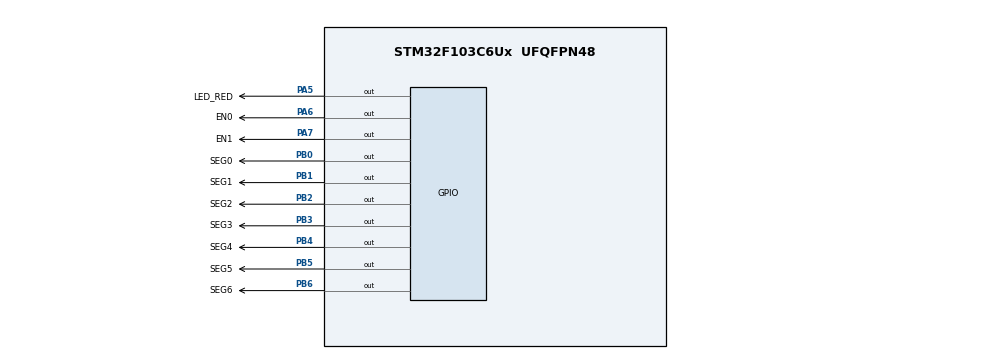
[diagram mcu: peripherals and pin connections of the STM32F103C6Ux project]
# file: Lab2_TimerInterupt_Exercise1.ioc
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Mcu.Family=STM32F1
Mcu.Name=STM32F103C6Ux
Mcu.Package=UFQFPN48
NVIC.PriorityGroup=NVIC_PRIORITYGROUP_4
NVIC.TIM2_IRQn=true\:0\:0\:false\:false\:true\:true\:true
PA5.GPIO_Label=LED_RED
PA5.Signal=GPIO_Output
PA6.GPIO_Label=EN0
PA6.Signal=GPIO_Output
PA7.GPIO_Label=EN1
PA7.Signal=GPIO_Output
PB0.GPIO_Label=SEG0
PB0.Signal=GPIO_Output
PB1.GPIO_Label=SEG1
PB1.Signal=GPIO_Output
PB2.GPIO_Label=SEG2
PB2.Signal=GPIO_Output
PB3.GPIO_Label=SEG3
PB3.Signal=GPIO_Output
PB4.GPIO_Label=SEG4
PB4.Signal=GPIO_Output
PB5.GPIO_Label=SEG5
PB5.Signal=GPIO_Output
PB6.GPIO_Label=SEG6
PB6.Signal=GPIO_Output
ProjectManager.HeapSize=0x200
ProjectManager.StackSize=0x400
ProjectManager.TargetToolchain=STM32CubeIDE
RCC.APB1Freq_Value=8000000
RCC.APB2Freq_Value=8000000
TIM2.Period=9
TIM2.Prescaler=7999
VP_SYS_VS_ND.Mode=No_Debug
VP_TIM2_VS_ClockSourceINT.Mode=Internal
board=custom

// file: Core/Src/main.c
/* USER CODE BEGIN Header */
/**
  ******************************************************************************
  * @file           : main.c
  * @brief          : Main program body
  ******************************************************************************
  * @attention
  *
  * <h2><center>&copy; Copyright (c) 2022 STMicroelectronics.
  * All rights reserved.</center></h2>
  *
  * This software component is licensed by ST under BSD 3-Clause license,
  * the "License"; You may not use this file except in compliance with the
  * License. You may obtain a copy of the License at:
  *                        opensource.org/licenses/BSD-3-Clause
  *
  ******************************************************************************
  */
/* USER CODE END Header */
#include "main.h"

TIM_HandleTypeDef htim2;

void SystemClock_Config(void);
static void MX_GPIO_Init(void);
static void MX_TIM2_Init(void);

/* USER CODE BEGIN 0 */
void display7SEG(int num){
	//outputs: SEG7 -> SEG0
	//outputs with value of 0 (RESET) will be turn on
	//outputs with value of 1 (SET) will be turn off
	if (num == 0){ //100 0000
		HAL_GPIO_WritePin(GPIOB, SEG0_Pin|SEG1_Pin|SEG2_Pin
								|SEG3_Pin|SEG4_Pin|SEG5_Pin, GPIO_PIN_RESET);
		HAL_GPIO_WritePin(GPIOB, SEG6_Pin, GPIO_PIN_SET);
	}
	else if (num == 1){ //111 1001
		HAL_GPIO_WritePin(GPIOB, SEG1_Pin|SEG2_Pin, GPIO_PIN_RESET);
		HAL_GPIO_WritePin(GPIOB, SEG0_Pin|SEG3_Pin|SEG4_Pin
								|SEG5_Pin|SEG6_Pin, GPIO_PIN_SET);
	}
	else if (num == 2){ //010 0100
		HAL_GPIO_WritePin(GPIOB, SEG0_Pin|SEG1_Pin|SEG3_Pin
								|SEG4_Pin|SEG6_Pin, GPIO_PIN_RESET);
		HAL_GPIO_WritePin(GPIOB, SEG2_Pin|SEG5_Pin, GPIO_PIN_SET);
	}
	else if (num == 3){ //011 0000
		HAL_GPIO_WritePin(GPIOB, SEG0_Pin|SEG1_Pin|SEG2_Pin
								|SEG3_Pin|SEG6_Pin, GPIO_PIN_RESET);
		HAL_GPIO_WritePin(GPIOB, SEG4_Pin|SEG5_Pin, GPIO_PIN_SET);
	}
	else if (num == 4){ //001 1001
		HAL_GPIO_WritePin(GPIOB, SEG1_Pin|SEG2_Pin|SEG5_Pin
								|SEG6_Pin, GPIO_PIN_RESET);
		HAL_GPIO_WritePin(GPIOB, SEG0_Pin|SEG3_Pin|SEG4_Pin, GPIO_PIN_SET);
	}
	else if (num == 5){ //001 0010
		HAL_GPIO_WritePin(GPIOB, SEG0_Pin|SEG2_Pin|SEG3_Pin
								|SEG5_Pin|SEG6_Pin, GPIO_PIN_RESET);
		HAL_GPIO_WritePin(GPIOB, SEG1_Pin|SEG4_Pin, GPIO_PIN_SET);
	}
	else if (num == 6){ //000 0010
		HAL_GPIO_WritePin(GPIOB, SEG0_Pin|SEG2_Pin|SEG3_Pin
								|SEG4_Pin|SEG5_Pin|SEG6_Pin, GPIO_PIN_RESET);
		HAL_GPIO_WritePin(GPIOB, SEG1_Pin, GPIO_PIN_SET);
	}
	else if (num == 7){ //111 1000
		HAL_GPIO_WritePin(GPIOB, SEG0_Pin|SEG1_Pin|SEG2_Pin, GPIO_PIN_RESET);
		HAL_GPIO_WritePin(GPIOB, SEG3_Pin|SEG4_Pin|SEG5_Pin
								|SEG6_Pin, GPIO_PIN_SET);
	}
	else if (num == 8){ //000 0000
		HAL_GPIO_WritePin(GPIOB, SEG0_Pin|SEG1_Pin|SEG2_Pin
								|SEG3_Pin|SEG4_Pin|SEG5_Pin
								|SEG6_Pin, GPIO_PIN_RESET);
	}
	else if (num == 9){ //001 0000
		HAL_GPIO_WritePin(GPIOB, SEG0_Pin|SEG1_Pin|SEG2_Pin
								|SEG3_Pin|SEG5_Pin|SEG6_Pin, GPIO_PIN_RESET);
		HAL_GPIO_WritePin(GPIOB, SEG4_Pin, GPIO_PIN_SET);
	}
}
/* USER CODE END 0 */

int main(void)
{

  /* MCU Configuration--------------------------------------------------------*/

  /* Reset of all peripherals, Initializes the Flash interface and the Systick. */
  HAL_Init();

  /* Configure the system clock */
  SystemClock_Config();

  /* Initialize all configured peripherals */
  MX_GPIO_Init();
  MX_TIM2_Init();
  /* USER CODE BEGIN 2 */
  HAL_TIM_Base_Start_IT(&htim2);
  /* USER CODE END 2 */

  /* Infinite loop */
  while (1)
  {

  }
}

void SystemClock_Config(void)
{
  RCC_OscInitTypeDef RCC_OscInitStruct = {0};
  RCC_ClkInitTypeDef RCC_ClkInitStruct = {0};

  /** Initializes the RCC Oscillators according to the specified parameters
  * in the RCC_OscInitTypeDef structure.
  */
  RCC_OscInitStruct.OscillatorType = RCC_OSCILLATORTYPE_HSI;
  RCC_OscInitStruct.HSIState = RCC_HSI_ON;
  RCC_OscInitStruct.HSICalibrationValue = RCC_HSICALIBRATION_DEFAULT;
  RCC_OscInitStruct.PLL.PLLState = RCC_PLL_NONE;
  if (HAL_RCC_OscConfig(&RCC_OscInitStruct) != HAL_OK)
  {
    Error_Handler();
  }
  /** Initializes the CPU, AHB and APB buses clocks
  */
  RCC_ClkInitStruct.ClockType = RCC_CLOCKTYPE_HCLK|RCC_CLOCKTYPE_SYSCLK
                              |RCC_CLOCKTYPE_PCLK1|RCC_CLOCKTYPE_PCLK2;
  RCC_ClkInitStruct.SYSCLKSource = RCC_SYSCLKSOURCE_HSI;
  RCC_ClkInitStruct.AHBCLKDivider = RCC_SYSCLK_DIV1;
  RCC_ClkInitStruct.APB1CLKDivider = RCC_HCLK_DIV1;
  RCC_ClkInitStruct.APB2CLKDivider = RCC_HCLK_DIV1;

  if (HAL_RCC_ClockConfig(&RCC_ClkInitStruct, FLASH_LATENCY_0) != HAL_OK)
  {
    Error_Handler();
  }
}

static void MX_TIM2_Init(void)
{

  TIM_ClockConfigTypeDef sClockSourceConfig = {0};
  TIM_MasterConfigTypeDef sMasterConfig = {0};

  htim2.Instance = TIM2;
  htim2.Init.Prescaler = 7999;
  htim2.Init.CounterMode = TIM_COUNTERMODE_UP;
  htim2.Init.Period = 9;
  htim2.Init.ClockDivision = TIM_CLOCKDIVISION_DIV1;
  htim2.Init.AutoReloadPreload = TIM_AUTORELOAD_PRELOAD_DISABLE;
  if (HAL_TIM_Base_Init(&htim2) != HAL_OK)
  {
    Error_Handler();
  }
  sClockSourceConfig.ClockSource = TIM_CLOCKSOURCE_INTERNAL;
  if (HAL_TIM_ConfigClockSource(&htim2, &sClockSourceConfig) != HAL_OK)
  {
    Error_Handler();
  }
  sMasterConfig.MasterOutputTrigger = TIM_TRGO_RESET;
  sMasterConfig.MasterSlaveMode = TIM_MASTERSLAVEMODE_DISABLE;
  if (HAL_TIMEx_MasterConfigSynchronization(&htim2, &sMasterConfig) != HAL_OK)
  {
    Error_Handler();
  }

}

static void MX_GPIO_Init(void)
{
  GPIO_InitTypeDef GPIO_InitStruct = {0};

  /* GPIO Ports Clock Enable */
  __HAL_RCC_GPIOA_CLK_ENABLE();
  __HAL_RCC_GPIOB_CLK_ENABLE();

  /*Configure GPIO pin Output Level */
  HAL_GPIO_WritePin(GPIOA, LED_RED_Pin|EN0_Pin|EN1_Pin, GPIO_PIN_RESET);

  /*Configure GPIO pin Output Level */
  HAL_GPIO_WritePin(GPIOB, SEG0_Pin|SEG1_Pin|SEG2_Pin|SEG3_Pin
                          |SEG4_Pin|SEG5_Pin|SEG6_Pin, GPIO_PIN_RESET);

  /*Configure GPIO pins : LED_RED_Pin EN0_Pin EN1_Pin */
  GPIO_InitStruct.Pin = LED_RED_Pin|EN0_Pin|EN1_Pin;
  GPIO_InitStruct.Mode = GPIO_MODE_OUTPUT_PP;
  GPIO_InitStruct.Pull = GPIO_NOPULL;
  GPIO_InitStruct.Speed = GPIO_SPEED_FREQ_LOW;
  HAL_GPIO_Init(GPIOA, &GPIO_InitStruct);

  /*Configure GPIO pins : SEG0_Pin SEG1_Pin SEG2_Pin SEG3_Pin
                           SEG4_Pin SEG5_Pin SEG6_Pin */
  GPIO_InitStruct.Pin = SEG0_Pin|SEG1_Pin|SEG2_Pin|SEG3_Pin
                          |SEG4_Pin|SEG5_Pin|SEG6_Pin;
  GPIO_InitStruct.Mode = GPIO_MODE_OUTPUT_PP;
  GPIO_InitStruct.Pull = GPIO_NOPULL;
  GPIO_InitStruct.Speed = GPIO_SPEED_FREQ_LOW;
  HAL_GPIO_Init(GPIOB, &GPIO_InitStruct);

}

/* USER CODE BEGIN 4 */
int led7seg_counter = 50;
int led7seg_state = 0;
int ledRed_counter = 100;
int ledRed_state = 0;
void HAL_TIM_PeriodElapsedCallback(TIM_HandleTypeDef *htim)
{
	led7seg_counter--;
	ledRed_counter--;
	if (led7seg_counter <= 0){
		led7seg_counter = 50;
		led7seg_state = 1 - led7seg_state;
	}
	if (ledRed_counter <= 0){
		ledRed_counter = 100;
		ledRed_state = 1 - ledRed_state;
	}

	switch (led7seg_state){
		case 0:
			HAL_GPIO_WritePin(EN0_GPIO_Port, EN0_Pin, GPIO_PIN_RESET);
			HAL_GPIO_WritePin(EN1_GPIO_Port, EN1_Pin, GPIO_PIN_SET);
			display7SEG(1);
			break;
		case 1:
			HAL_GPIO_WritePin(EN0_GPIO_Port, EN0_Pin, GPIO_PIN_SET);
			HAL_GPIO_WritePin(EN1_GPIO_Port, EN1_Pin, GPIO_PIN_RESET);
			display7SEG(2);
			break;
		default:
			break;
	}
	switch (ledRed_state){
		case 0:
			HAL_GPIO_WritePin(LED_RED_GPIO_Port, LED_RED_Pin, RESET);
			break;
		case 1:
			HAL_GPIO_WritePin(LED_RED_GPIO_Port, LED_RED_Pin, SET);
			break;
		default:
			break;
	}
}
/* USER CODE END 4 */

void Error_Handler(void)
{
  __disable_irq();
  while (1)
  {
  }
}

/************************ (C) COPYRIGHT STMicroelectronics *****END OF FILE****/
